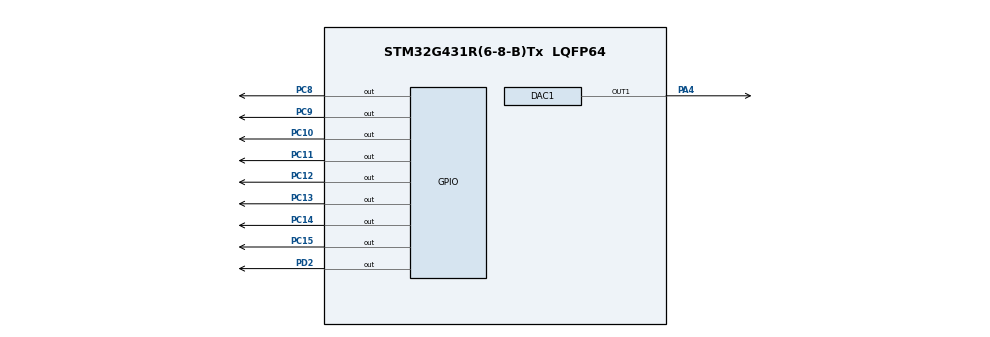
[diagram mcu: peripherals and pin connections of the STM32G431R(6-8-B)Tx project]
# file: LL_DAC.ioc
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Mcu.Family=STM32G4
Mcu.Name=STM32G431R(6-8-B)Tx
Mcu.Package=LQFP64
NVIC.PriorityGroup=NVIC_PRIORITYGROUP_4
PA4.Signal=COMP_DAC11_group
PC10.Signal=GPIO_Output
PC11.Signal=GPIO_Output
PC12.Signal=GPIO_Output
PC13.Signal=GPIO_Output
PC14-OSC32_IN.Signal=GPIO_Output
PC15-OSC32_OUT.Signal=GPIO_Output
PC8.Signal=GPIO_Output
PC9.Signal=GPIO_Output
PD2.Signal=GPIO_Output
PF0-OSC_IN.Mode=HSE-External-Oscillator
PF0-OSC_IN.Signal=RCC_OSC_IN
PF1-OSC_OUT.Mode=HSE-External-Oscillator
PF1-OSC_OUT.Signal=RCC_OSC_OUT
ProjectManager.HeapSize=0x200
ProjectManager.StackSize=0x400
ProjectManager.TargetToolchain=MDK-ARM V5.27
RCC.ADC12Freq_Value=80000000
RCC.AHBFreq_Value=80000000
RCC.APB1Freq_Value=80000000
RCC.APB1TimFreq_Value=80000000
RCC.APB2Freq_Value=80000000
RCC.APB2TimFreq_Value=80000000
RCC.CortexFreq_Value=80000000
RCC.EXTERNAL_CLOCK_VALUE=12288000
RCC.HCLKFreq_Value=80000000
RCC.HSE_VALUE=24000000
RCC.HSI48_VALUE=48000000
RCC.HSI_VALUE=16000000
RCC.LSE_VALUE=32768
RCC.PLLM=RCC_PLLM_DIV2
RCC.PLLN=20
RCC.SYSCLKFreq_VALUE=80000000
RCC.SYSCLKSource=RCC_SYSCLKSOURCE_PLLCLK
RCC.USBFreq_Value=80000000
RCC.VCOOutputFreq_Value=160000000
SH.COMP_DAC11_group.0=DAC1_OUT1,DAC_OUT1
VP_SYS_VS_DBSignals.Mode=DisableDeadBatterySignals
board=custom

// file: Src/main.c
/* USER CODE BEGIN Header */
/**
  ******************************************************************************
  * @file           : main.c
  * @brief          : Main program body
  ******************************************************************************
  * @attention
  *
  * <h2><center>&copy; Copyright (c) 2021 STMicroelectronics.
  * All rights reserved.</center></h2>
  *
  * This software component is licensed by ST under BSD 3-Clause license,
  * the "License"; You may not use this file except in compliance with the
  * License. You may obtain a copy of the License at:
  *                        opensource.org/licenses/BSD-3-Clause
  *
  ******************************************************************************
  */
/* USER CODE END Header */

#include "main.h"

void SystemClock_Config(void);
static void MX_GPIO_Init(void);
static void MX_DAC1_Init(void);

/* USER CODE BEGIN 0 */
void Dac1_Set_Vol(float vol)
{
	uint16_t temp;

	temp = (4096*vol/3.3f);

	LL_DAC_ConvertData12RightAligned(DAC1,LL_DAC_CHANNEL_1, temp);
}

/* USER CODE END 0 */

int main(void)
{

  /* MCU Configuration--------------------------------------------------------*/

  /* Reset of all peripherals, Initializes the Flash interface and the Systick. */

  LL_APB2_GRP1_EnableClock(LL_APB2_GRP1_PERIPH_SYSCFG);
  LL_APB1_GRP1_EnableClock(LL_APB1_GRP1_PERIPH_PWR);

  NVIC_SetPriorityGrouping(NVIC_PRIORITYGROUP_4);

  /* System interrupt init*/

  /** Disable the internal Pull-Up in Dead Battery pins of UCPD peripheral
  */
  LL_PWR_DisableDeadBatteryPD();

  /* Configure the system clock */
  SystemClock_Config();

  /* Initialize all configured peripherals */
  MX_GPIO_Init();
  MX_DAC1_Init();
  /* USER CODE BEGIN 2 */
	LCD_Init();

	LCD_Clear(Blue);
	LCD_SetBackColor(Blue);
	LCD_SetTextColor(White);

	LCD_DisplayStringLine(Line0, (uint8_t *)"                    ");
	LCD_DisplayStringLine(Line1, (uint8_t *)"                    ");
	LCD_DisplayStringLine(Line2, (uint8_t *)"      DAC Test      ");
	LCD_DisplayStringLine(Line3, (uint8_t *)"                    ");
	LCD_DisplayStringLine(Line4, (uint8_t *)"                    ");

	LCD_SetBackColor(White);
	LCD_SetTextColor(Blue);

	LCD_DisplayStringLine(Line5, (uint8_t *)"                    ");
	LCD_DisplayStringLine(Line6, (uint8_t *)"       DA1 CH1      ");
	LCD_DisplayStringLine(Line7, (uint8_t *)"                    ");
	LCD_DisplayStringLine(Line8, (uint8_t *)"     PA4: 1.55V     ");
	LCD_DisplayStringLine(Line9, (uint8_t *)"                    ");
  /* USER CODE END 2 */

  /* Infinite loop */
  /* USER CODE BEGIN WHILE */
	Dac1_Set_Vol(1.55);

	while (1)
  {
    /* USER CODE END WHILE */

  }
}

void SystemClock_Config(void)
{
  LL_FLASH_SetLatency(LL_FLASH_LATENCY_3);

   if(LL_FLASH_GetLatency() != LL_FLASH_LATENCY_3)
  {
    Error_Handler();
  }
  LL_PWR_SetRegulVoltageScaling(LL_PWR_REGU_VOLTAGE_SCALE1);
  LL_RCC_HSI_Enable();

   /* Wait till HSI is ready */
  while(LL_RCC_HSI_IsReady() != 1)
  {

  }
  LL_RCC_HSI_SetCalibTrimming(64);
  LL_RCC_PLL_ConfigDomain_SYS(LL_RCC_PLLSOURCE_HSI, LL_RCC_PLLM_DIV_2, 20, LL_RCC_PLLR_DIV_2);
  LL_RCC_PLL_EnableDomain_SYS();
  LL_RCC_PLL_Enable();

   /* Wait till PLL is ready */
  while(LL_RCC_PLL_IsReady() != 1)
  {

  }
  LL_RCC_SetSysClkSource(LL_RCC_SYS_CLKSOURCE_PLL);

   /* Wait till System clock is ready */
  while(LL_RCC_GetSysClkSource() != LL_RCC_SYS_CLKSOURCE_STATUS_PLL)
  {

  }
  /* Set AHB prescaler*/
  LL_RCC_SetAHBPrescaler(LL_RCC_SYSCLK_DIV_1);
  LL_RCC_SetAPB1Prescaler(LL_RCC_APB1_DIV_1);
  LL_RCC_SetAPB2Prescaler(LL_RCC_APB1_DIV_1);

  LL_Init1msTick(80000000);

  LL_SetSystemCoreClock(80000000);
}

static void MX_DAC1_Init(void)
{

  LL_DAC_InitTypeDef DAC_InitStruct = {0};

  LL_GPIO_InitTypeDef GPIO_InitStruct = {0};

  /* Peripheral clock enable */
  LL_AHB2_GRP1_EnableClock(LL_AHB2_GRP1_PERIPH_DAC1);

  LL_AHB2_GRP1_EnableClock(LL_AHB2_GRP1_PERIPH_GPIOA);
  /**DAC1 GPIO Configuration
  PA4   ------> DAC1_OUT1
  */
  GPIO_InitStruct.Pin = LL_GPIO_PIN_4;
  GPIO_InitStruct.Mode = LL_GPIO_MODE_ANALOG;
  GPIO_InitStruct.Pull = LL_GPIO_PULL_NO;
  LL_GPIO_Init(GPIOA, &GPIO_InitStruct);

  /** DAC channel OUT1 config
  */
  LL_DAC_SetSignedFormat(DAC1, LL_DAC_CHANNEL_1, LL_DAC_SIGNED_FORMAT_DISABLE);
  DAC_InitStruct.TriggerSource = LL_DAC_TRIG_SOFTWARE;
  DAC_InitStruct.TriggerSource2 = LL_DAC_TRIG_SOFTWARE;
  DAC_InitStruct.WaveAutoGeneration = LL_DAC_WAVE_AUTO_GENERATION_NONE;
  DAC_InitStruct.OutputBuffer = LL_DAC_OUTPUT_BUFFER_ENABLE;
  DAC_InitStruct.OutputConnection = LL_DAC_OUTPUT_CONNECT_GPIO;
  DAC_InitStruct.OutputMode = LL_DAC_OUTPUT_MODE_NORMAL;
  LL_DAC_Init(DAC1, LL_DAC_CHANNEL_1, &DAC_InitStruct);
  LL_DAC_DisableTrigger(DAC1, LL_DAC_CHANNEL_1);
  LL_DAC_DisableDMADoubleDataMode(DAC1, LL_DAC_CHANNEL_1);
  /* USER CODE BEGIN DAC1_Init 2 */

	LL_DAC_Enable(DAC1,LL_DAC_CHANNEL_1);
  /* USER CODE END DAC1_Init 2 */

}

static void MX_GPIO_Init(void)
{
  LL_GPIO_InitTypeDef GPIO_InitStruct = {0};

  /* GPIO Ports Clock Enable */
  LL_AHB2_GRP1_EnableClock(LL_AHB2_GRP1_PERIPH_GPIOC);
  LL_AHB2_GRP1_EnableClock(LL_AHB2_GRP1_PERIPH_GPIOF);
  LL_AHB2_GRP1_EnableClock(LL_AHB2_GRP1_PERIPH_GPIOA);
  LL_AHB2_GRP1_EnableClock(LL_AHB2_GRP1_PERIPH_GPIOD);

  /**/
  LL_GPIO_ResetOutputPin(GPIOC, LL_GPIO_PIN_13);

  /**/
  LL_GPIO_ResetOutputPin(GPIOC, LL_GPIO_PIN_14);

  /**/
  LL_GPIO_ResetOutputPin(GPIOC, LL_GPIO_PIN_15);

  /**/
  LL_GPIO_ResetOutputPin(GPIOC, LL_GPIO_PIN_8);

  /**/
  LL_GPIO_ResetOutputPin(GPIOC, LL_GPIO_PIN_9);

  /**/
  LL_GPIO_ResetOutputPin(GPIOC, LL_GPIO_PIN_10);

  /**/
  LL_GPIO_ResetOutputPin(GPIOC, LL_GPIO_PIN_11);

  /**/
  LL_GPIO_ResetOutputPin(GPIOC, LL_GPIO_PIN_12);

  /**/
  LL_GPIO_ResetOutputPin(GPIOD, LL_GPIO_PIN_2);

  /**/
  GPIO_InitStruct.Pin = LL_GPIO_PIN_13;
  GPIO_InitStruct.Mode = LL_GPIO_MODE_OUTPUT;
  GPIO_InitStruct.Speed = LL_GPIO_SPEED_FREQ_LOW;
  GPIO_InitStruct.OutputType = LL_GPIO_OUTPUT_PUSHPULL;
  GPIO_InitStruct.Pull = LL_GPIO_PULL_NO;
  LL_GPIO_Init(GPIOC, &GPIO_InitStruct);

  /**/
  GPIO_InitStruct.Pin = LL_GPIO_PIN_14;
  GPIO_InitStruct.Mode = LL_GPIO_MODE_OUTPUT;
  GPIO_InitStruct.Speed = LL_GPIO_SPEED_FREQ_LOW;
  GPIO_InitStruct.OutputType = LL_GPIO_OUTPUT_PUSHPULL;
  GPIO_InitStruct.Pull = LL_GPIO_PULL_NO;
  LL_GPIO_Init(GPIOC, &GPIO_InitStruct);

  /**/
  GPIO_InitStruct.Pin = LL_GPIO_PIN_15;
  GPIO_InitStruct.Mode = LL_GPIO_MODE_OUTPUT;
  GPIO_InitStruct.Speed = LL_GPIO_SPEED_FREQ_LOW;
  GPIO_InitStruct.OutputType = LL_GPIO_OUTPUT_PUSHPULL;
  GPIO_InitStruct.Pull = LL_GPIO_PULL_NO;
  LL_GPIO_Init(GPIOC, &GPIO_InitStruct);

  /**/
  GPIO_InitStruct.Pin = LL_GPIO_PIN_8;
  GPIO_InitStruct.Mode = LL_GPIO_MODE_OUTPUT;
  GPIO_InitStruct.Speed = LL_GPIO_SPEED_FREQ_LOW;
  GPIO_InitStruct.OutputType = LL_GPIO_OUTPUT_PUSHPULL;
  GPIO_InitStruct.Pull = LL_GPIO_PULL_NO;
  LL_GPIO_Init(GPIOC, &GPIO_InitStruct);

  /**/
  GPIO_InitStruct.Pin = LL_GPIO_PIN_9;
  GPIO_InitStruct.Mode = LL_GPIO_MODE_OUTPUT;
  GPIO_InitStruct.Speed = LL_GPIO_SPEED_FREQ_LOW;
  GPIO_InitStruct.OutputType = LL_GPIO_OUTPUT_PUSHPULL;
  GPIO_InitStruct.Pull = LL_GPIO_PULL_NO;
  LL_GPIO_Init(GPIOC, &GPIO_InitStruct);

  /**/
  GPIO_InitStruct.Pin = LL_GPIO_PIN_10;
  GPIO_InitStruct.Mode = LL_GPIO_MODE_OUTPUT;
  GPIO_InitStruct.Speed = LL_GPIO_SPEED_FREQ_LOW;
  GPIO_InitStruct.OutputType = LL_GPIO_OUTPUT_PUSHPULL;
  GPIO_InitStruct.Pull = LL_GPIO_PULL_NO;
  LL_GPIO_Init(GPIOC, &GPIO_InitStruct);

  /**/
  GPIO_InitStruct.Pin = LL_GPIO_PIN_11;
  GPIO_InitStruct.Mode = LL_GPIO_MODE_OUTPUT;
  GPIO_InitStruct.Speed = LL_GPIO_SPEED_FREQ_LOW;
  GPIO_InitStruct.OutputType = LL_GPIO_OUTPUT_PUSHPULL;
  GPIO_InitStruct.Pull = LL_GPIO_PULL_NO;
  LL_GPIO_Init(GPIOC, &GPIO_InitStruct);

  /**/
  GPIO_InitStruct.Pin = LL_GPIO_PIN_12;
  GPIO_InitStruct.Mode = LL_GPIO_MODE_OUTPUT;
  GPIO_InitStruct.Speed = LL_GPIO_SPEED_FREQ_LOW;
  GPIO_InitStruct.OutputType = LL_GPIO_OUTPUT_PUSHPULL;
  GPIO_InitStruct.Pull = LL_GPIO_PULL_NO;
  LL_GPIO_Init(GPIOC, &GPIO_InitStruct);

  /**/
  GPIO_InitStruct.Pin = LL_GPIO_PIN_2;
  GPIO_InitStruct.Mode = LL_GPIO_MODE_OUTPUT;
  GPIO_InitStruct.Speed = LL_GPIO_SPEED_FREQ_LOW;
  GPIO_InitStruct.OutputType = LL_GPIO_OUTPUT_PUSHPULL;
  GPIO_InitStruct.Pull = LL_GPIO_PULL_NO;
  LL_GPIO_Init(GPIOD, &GPIO_InitStruct);

}

void Error_Handler(void)
{
}

/************************ (C) COPYRIGHT STMicroelectronics *****END OF FILE****/
